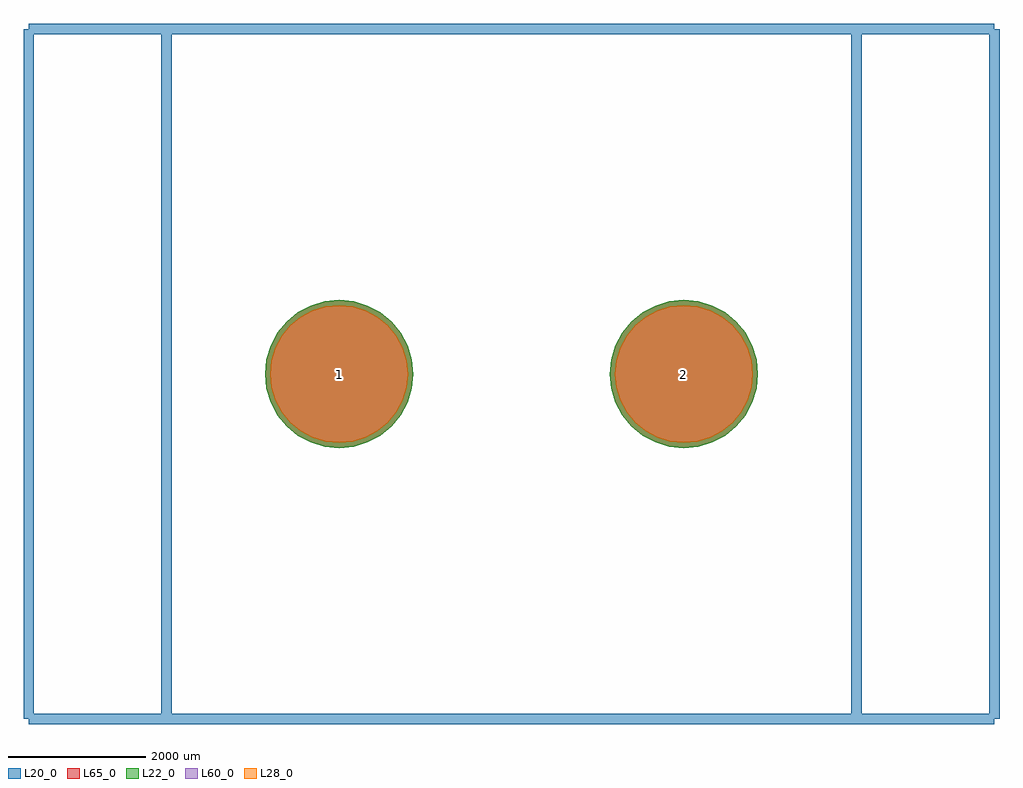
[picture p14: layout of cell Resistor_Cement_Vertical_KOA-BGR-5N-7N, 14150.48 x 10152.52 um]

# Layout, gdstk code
import gdstk
lib = gdstk.Library(unit=1e-6, precision=1e-09)
def P(c, l, *ps):  # polygons
    for p in ps: c.add(gdstk.Polygon(p, *l))
L20_0 = (20, 0)
L22_0 = (22, 0)
L28_0 = (28, 0)
L60_0 = (60, 0)
L65_0 = (65, 0)

resistor_cement_vertical = lib.new_cell('Resistor_Cement_Vertical_KOA-BGR-5N-7N')
P(resistor_cement_vertical, L22_0, [(3573.85,0),(3553.204,209.623),(3492.059,411.19),(3392.766,596.955),(3259.139,759.779),(3096.315,893.406),(2910.55,992.699),(2708.983,1053.844),(2499.36,1074.49),(2289.737,1053.844),(2088.17,992.699),(1902.405,893.406),(1739.581,759.779),(1605.954,596.955),(1506.661,411.19),(1445.516,209.623),(1424.87,0),(1445.516,-209.623),(1506.661,-411.19),(1605.954,-596.955),(1739.581,-759.779),(1902.405,-893.406),(2088.17,-992.699),(2289.737,-1053.844),(2499.36,-1074.49),(2708.983,-1053.844),(2910.55,-992.699),(3096.315,-893.406),(3259.139,-759.779),(3392.766,-596.955),(3492.059,-411.19),(3553.204,-209.623)],
  [(-1424.87,0),(-1445.516,209.623),(-1506.661,411.19),(-1605.954,596.955),(-1739.581,759.779),(-1902.405,893.406),(-2088.17,992.699),(-2289.737,1053.844),(-2499.36,1074.49),(-2708.983,1053.844),(-2910.55,992.699),(-3096.315,893.406),(-3259.139,759.779),(-3392.766,596.955),(-3492.059,411.19),(-3553.204,209.623),(-3573.85,0),(-3553.204,-209.623),(-3492.059,-411.19),(-3392.766,-596.955),(-3259.139,-759.779),(-3096.315,-893.406),(-2910.55,-992.699),(-2708.983,-1053.844),(-2499.36,-1074.49),(-2289.737,-1053.844),(-2088.17,-992.699),(-1902.405,-893.406),(-1739.581,-759.779),(-1605.954,-596.955),(-1506.661,-411.19),(-1445.516,-209.623)])
P(resistor_cement_vertical, L28_0, [(3498.85,0),(3479.645,194.991),(3422.768,382.488),(3330.406,555.287),(3206.106,706.746),(3054.647,831.046),(2881.848,923.408),(2694.351,980.285),(2499.36,999.49),(2304.369,980.285),(2116.872,923.408),(1944.073,831.046),(1792.614,706.746),(1668.314,555.287),(1575.952,382.488),(1519.075,194.991),(1499.87,0),(1519.075,-194.991),(1575.952,-382.488),(1668.314,-555.287),(1792.614,-706.746),(1944.073,-831.046),(2116.872,-923.408),(2304.369,-980.285),(2499.36,-999.49),(2694.351,-980.285),(2881.848,-923.408),(3054.647,-831.046),(3206.106,-706.746),(3330.406,-555.287),(3422.768,-382.488),(3479.645,-194.991)],
  [(-1499.87,0),(-1519.075,194.991),(-1575.952,382.488),(-1668.314,555.287),(-1792.614,706.746),(-1944.073,831.046),(-2116.872,923.408),(-2304.369,980.285),(-2499.36,999.49),(-2694.351,980.285),(-2881.848,923.408),(-3054.647,831.046),(-3206.106,706.746),(-3330.406,555.287),(-3422.768,382.488),(-3479.645,194.991),(-3498.85,0),(-3479.645,-194.991),(-3422.768,-382.488),(-3330.406,-555.287),(-3206.106,-706.746),(-3054.647,-831.046),(-2881.848,-923.408),(-2694.351,-980.285),(-2499.36,-999.49),(-2304.369,-980.285),(-2116.872,-923.408),(-1944.073,-831.046),(-1792.614,-706.746),(-1668.314,-555.287),(-1575.952,-382.488),(-1519.075,-194.991)])
P(resistor_cement_vertical, L60_0, [(3498.85,0),(3479.645,194.991),(3422.768,382.488),(3330.406,555.287),(3206.106,706.746),(3054.647,831.046),(2881.848,923.408),(2694.351,980.285),(2499.36,999.49),(2304.369,980.285),(2116.872,923.408),(1944.073,831.046),(1792.614,706.746),(1668.314,555.287),(1575.952,382.488),(1519.075,194.991),(1499.87,0),(1519.075,-194.991),(1575.952,-382.488),(1668.314,-555.287),(1792.614,-706.746),(1944.073,-831.046),(2116.872,-923.408),(2304.369,-980.285),(2499.36,-999.49),(2694.351,-980.285),(2881.848,-923.408),(3054.647,-831.046),(3206.106,-706.746),(3330.406,-555.287),(3422.768,-382.488),(3479.645,-194.991)],
  [(-1499.87,0),(-1519.075,194.991),(-1575.952,382.488),(-1668.314,555.287),(-1792.614,706.746),(-1944.073,831.046),(-2116.872,923.408),(-2304.369,980.285),(-2499.36,999.49),(-2694.351,980.285),(-2881.848,923.408),(-3054.647,831.046),(-3206.106,706.746),(-3330.406,555.287),(-3422.768,382.488),(-3479.645,194.991),(-3498.85,0),(-3479.645,-194.991),(-3422.768,-382.488),(-3330.406,-555.287),(-3206.106,-706.746),(-3054.647,-831.046),(-2881.848,-923.408),(-2694.351,-980.285),(-2499.36,-999.49),(-2304.369,-980.285),(-2116.872,-923.408),(-1944.073,-831.046),(-1792.614,-706.746),(-1668.314,-555.287),(-1575.952,-382.488),(-1519.075,-194.991)])
P(resistor_cement_vertical, L65_0, [(3573.85,0),(3553.204,209.623),(3492.059,411.19),(3392.766,596.955),(3259.139,759.779),(3096.315,893.406),(2910.55,992.699),(2708.983,1053.844),(2499.36,1074.49),(2289.737,1053.844),(2088.17,992.699),(1902.405,893.406),(1739.581,759.779),(1605.954,596.955),(1506.661,411.19),(1445.516,209.623),(1424.87,0),(1445.516,-209.623),(1506.661,-411.19),(1605.954,-596.955),(1739.581,-759.779),(1902.405,-893.406),(2088.17,-992.699),(2289.737,-1053.844),(2499.36,-1074.49),(2708.983,-1053.844),(2910.55,-992.699),(3096.315,-893.406),(3259.139,-759.779),(3392.766,-596.955),(3492.059,-411.19),(3553.204,-209.623)],
  [(-1424.87,0),(-1445.516,209.623),(-1506.661,411.19),(-1605.954,596.955),(-1739.581,759.779),(-1902.405,893.406),(-2088.17,992.699),(-2289.737,1053.844),(-2499.36,1074.49),(-2708.983,1053.844),(-2910.55,992.699),(-3096.315,893.406),(-3259.139,759.779),(-3392.766,596.955),(-3492.059,411.19),(-3553.204,209.623),(-3573.85,0),(-3553.204,-209.623),(-3492.059,-411.19),(-3392.766,-596.955),(-3259.139,-759.779),(-3096.315,-893.406),(-2910.55,-992.699),(-2708.983,-1053.844),(-2499.36,-1074.49),(-2289.737,-1053.844),(-2088.17,-992.699),(-1902.405,-893.406),(-1739.581,-759.779),(-1605.954,-596.955),(-1506.661,-411.19),(-1445.516,-209.623)])
resistor_cement_vertical.add(gdstk.FlexPath([(7000.24,-5001.26),(7000.24,5001.26)], 149.998, ends="flush", simple_path=True, layer=20, datatype=0))  # L20_0
resistor_cement_vertical.add(gdstk.FlexPath([(-7000.24,-5001.26),(7000.24,-5001.26)], 149.998, ends="flush", simple_path=True, layer=20, datatype=0))  # L20_0
resistor_cement_vertical.add(gdstk.FlexPath([(-7000.24,5001.26),(-7000.24,-5001.26)], 149.998, ends="flush", simple_path=True, layer=20, datatype=0))  # L20_0
resistor_cement_vertical.add(gdstk.FlexPath([(7000.24,5001.26),(-7000.24,5001.26)], 149.998, ends="flush", simple_path=True, layer=20, datatype=0))  # L20_0
resistor_cement_vertical.add(gdstk.FlexPath([(5001.26,5001.26),(5001.26,-5001.26)], 149.998, ends="flush", simple_path=True, layer=20, datatype=0))  # L20_0
resistor_cement_vertical.add(gdstk.FlexPath([(-5001.26,5001.26),(-5001.26,-5001.26)], 149.998, ends="flush", simple_path=True, layer=20, datatype=0))  # L20_0
resistor_cement_vertical.add(gdstk.Label('2', (2499.36,0), layer=28, texttype=0))
resistor_cement_vertical.add(gdstk.Label('1', (-2499.36,0), layer=28, texttype=0))
resistor_cement_vertical.add(gdstk.Label('type', (0,-8498.84), layer=9, texttype=0))
resistor_cement_vertical.add(gdstk.Label('devicename', (0,7000.24), layer=9, texttype=0))

lib.write_gds('Resistor_Cement_Vertical_KOA-BGR-5N-7N.gds')
